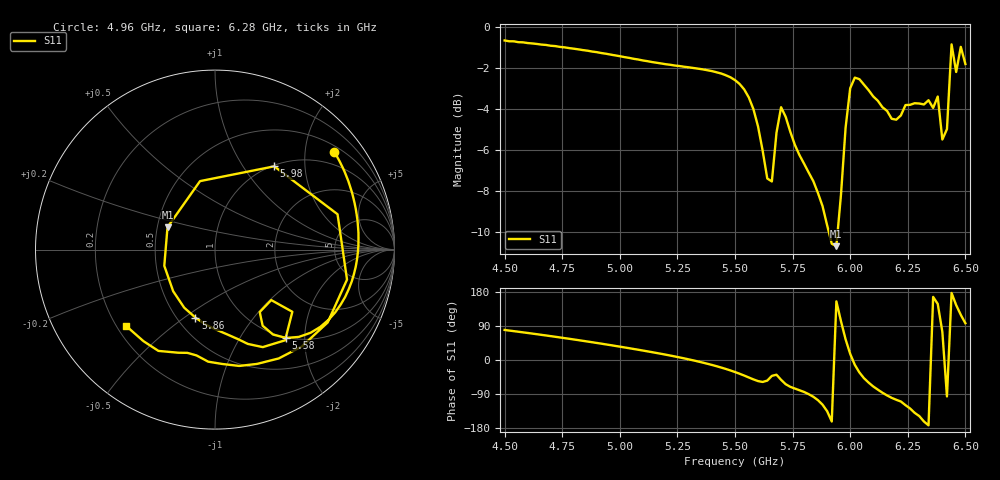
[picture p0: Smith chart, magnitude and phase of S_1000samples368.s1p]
! TOUCHSTONE file generated by CST MICROWAVE STUDIO
! Date and time: Thu Oct 27 22:34:08 2022
! Project name: L.cst
! Parameters = {Di=1.27; Epsilon_r=1.56; InnerDiameter=1.27; Length=2; Lf=10; Lg=60; OuterConductorThickness=0.2921; OuterDiameter=3.6; Wf=3; Wp=41.2; de=1.5; df=6.8; g=0.8; gx=1.22524; gy=2.77617; h=2.34; hf=1.524; px=8.53109; py=14.9773; w=9.7; wx=7.30586; wy=12.2011}
! Header version: 2018
! Port assignment regex: !\s*Touchstone port\s*([0-9]+)\s*=\s*(CST MWS port|CST DS port)\s*([0-9]+|Zmin|Zmax)\s*\(\"(.*)\"\)(\s*mode\s*([0-9]+))?.*
! Touchstone port assignment:
! Touchstone port 1 = CST MWS port 1 ("")
# GHz S DB R 50
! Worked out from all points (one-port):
!   101 points, 4.5 GHz to 6.5 GHz, reference 50 ohm
!   lowest |S11| = -10.7 dB at 5.94 GHz (marker M1), VSWR 1.83, Z = 28.3 + j7.73 ohm
!   |S11| at or under -10 dB: 5.908 GHz to 5.945 GHz (37.82 MHz wide, 0.638 % of centre)
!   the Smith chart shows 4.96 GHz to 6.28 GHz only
!   S11 on the Smith chart (normalised r, x): 4.96 GHz: 0.65, +2.67; 5.58 GHz: 0.99, -1.62; 5.86 GHz: 0.62, -0.55; 5.98 GHz: 1.02, +1.40; 6.28 GHz: 0.24, -0.35
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4.5  -0.64 79.3
4.76  -0.97 57.8
4.96  -1.33 39.2
5  -1.40 35.3
5.26  -1.89 6.7
5.5  -2.57 -31.7
5.58  -3.99 -51.2
5.66  -7.52 -41.9
5.68  -5.15 -38.8
5.7  -3.89 -52.3
5.76  -5.74 -75.4
5.86  -8.08 -106.0
5.9  -9.66 -135.2
5.94  -10.68 154.7
5.96  -8.17 102.3
5.98  -4.89 54.6
6  -2.97 16.1
6.04  -2.53 -32.9
6.08  -3.06 -59.7
6.26  -3.78 -128.0
6.28  -3.70 -139.5
6.34  -3.55 -172.5
6.38  -3.37 147.9
6.4  -5.47 74.1
6.42  -4.96 -96.2
6.44  -0.83 176.9
6.48  -0.95 119.2
6.5  -1.79 97.0
